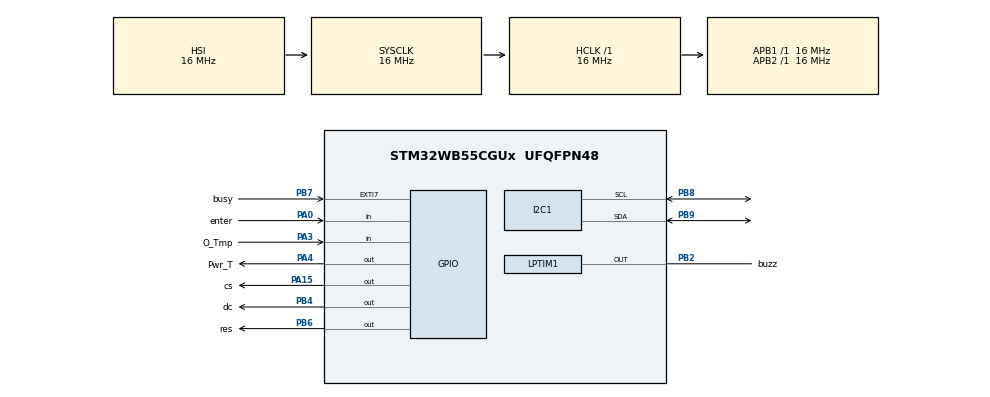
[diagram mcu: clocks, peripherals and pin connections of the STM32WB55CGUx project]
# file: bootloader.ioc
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I2C1.Timing=0x00503D58
LPTIM1.ClockPrescaler=LPTIM_PRESCALER_DIV4
Mcu.Family=STM32WB
Mcu.Name=STM32WB55CGUx
Mcu.Package=UFQFPN48
NVIC.EXTI9_5_IRQn=true\:0\:0\:false\:false\:true\:true\:true\:true
NVIC.LPTIM1_IRQn=true\:0\:0\:false\:false\:true\:true\:true\:true
NVIC.PriorityGroup=NVIC_PRIORITYGROUP_4
OSC_IN.Mode=HSE-External-Oscillator
OSC_IN.Signal=RCC_OSC_IN
OSC_OUT.Mode=HSE-External-Oscillator
OSC_OUT.Signal=RCC_OSC_OUT
PA0.GPIO_Label=enter
PA0.GPIO_PuPd=GPIO_PULLUP
PA0.Signal=GPIO_Input
PA15.GPIO_Label=cs
PA15.Signal=GPIO_Output
PA3.GPIO_Label=O_Tmp
PA3.GPIO_PuPd=GPIO_PULLUP
PA3.Signal=GPIO_Input
PA4.GPIO_Label=Pwr_T
PA4.PinState=GPIO_PIN_RESET
PA4.Signal=GPIO_Output
PB2.GPIO_Label=buzz
PB2.Mode=WaveformGeneration
PB2.Signal=LPTIM1_OUT
PB3.GPIO_Label=D_sclk
PB3.Signal=SPI1_SCK
PB4.GPIO_Label=dc
PB4.Signal=GPIO_Output
PB5.GPIO_Label=D_mosi
PB5.Signal=SPI1_MOSI
PB6.GPIO_Label=res
PB6.Signal=GPIO_Output
PB7.GPIO_Label=busy
PB7.GPIO_PuPd=GPIO_NOPULL
PB7.Signal=GPXTI7
PB8.Mode=I2C
PB8.Signal=I2C1_SCL
PB9.Mode=I2C
PB9.Signal=I2C1_SDA
PC14-OSC32_IN.Mode=LSE-External-Oscillator
PC14-OSC32_IN.Signal=RCC_OSC32_IN
PC15-OSC32_OUT.Mode=LSE-External-Oscillator
PC15-OSC32_OUT.Signal=RCC_OSC32_OUT
ProjectManager.HeapSize=0x200
ProjectManager.StackSize=0x400
ProjectManager.TargetToolchain=STM32CubeIDE
RCC.AHBFreq_Value=16000000
RCC.APB1Freq_Value=16000000
RCC.APB1TimFreq_Value=16000000
RCC.APB2Freq_Value=16000000
RCC.APB2TimFreq_Value=16000000
RCC.APB3Freq_Value=16000000
RCC.CortexFreq_Value=16000000
RCC.HCLKFreq_Value=16000000
RCC.HSE_VALUE=32000000
RCC.HSI48_VALUE=48000000
RCC.HSI_VALUE=16000000
RCC.PWR_Regulator_Voltage_Scale=PWR_REGULATOR_VOLTAGE_SCALE1
RCC.RTCClockSelection=RCC_RTCCLKSOURCE_LSE
RCC.SYSCLKFreq_VALUE=16000000
RCC.SYSCLKSource=RCC_SYSCLKSOURCE_HSI
RCC.VCOOutputFreq_Value=32000000
RTC.Date=28
VP_LPTIM1_VS_LPTIM_counterModeInternalClock.Mode=Counts__internal_clock_event_00
VP_MEMORYMAP_VS_MEMORYMAP.Mode=CurAppReg
VP_RTC_VS_RTC_Activate.Mode=RTC_Enabled
VP_RTC_VS_RTC_Calendar.Mode=RTC_Calendar
VP_SYS_V_PVD_IN.Mode=Mode_PVD_Int
board=custom

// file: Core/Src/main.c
/* USER CODE BEGIN Header */
/**
  ******************************************************************************
  * @file           : main.c
  * @brief          : Main program body
  ******************************************************************************
  * @attention
  *
  * Copyright (c) 2025 STMicroelectronics.
  * All rights reserved.
  *
  * This software is licensed under terms that can be found in the LICENSE file
  * in the root directory of this software component.
  * If no LICENSE file comes with this software, it is provided AS-IS.
  *
  ******************************************************************************
  */
/* USER CODE END Header */
#include "main.h"

/* USER CODE BEGIN Includes */
#include "Display_EPD_W21_spi.h"
#include "Display_EPD_W21.h"
#include "fonts.h"
#include "GUI_Paint.h"
#include <string.h>
#include "rtc.h"
/* USER CODE END Includes */

/* USER CODE BEGIN PD */
#define BUTTON_PIN GPIO_PIN_0
#define BUTTON_PORT GPIOA
#define PIEZO_PIN GPIO_PIN_2
#define PIEZO_PORT GPIOB
#define Butt_TIMEOUT_MS 2000
#define BOOT_ADD 0x1FFF0000 //0x1FFF0000 stm32wb55 bootloader address
#define BootJumpTime 3000
static uint8_t BlackImage[EPD_WIDTH * EPD_HEIGHT / 8]; //display drawing buffer
///display pins definitions/////

/////end of display pins definitions////
/* USER CODE END PD */
extern RTC_HandleTypeDef hrtc;

LPTIM_HandleTypeDef hlptim1;

void SystemClock_Config(void);
void PeriphCommonClock_Config(void);
static void MX_GPIO_Init(void);
static void MX_LPTIM1_Init(void);

/* USER CODE BEGIN PFP */
void PlayBeep(uint32_t duration_ms);
void JumpToBootloader(void);

/* USER CODE END PFP */

int main(void)
{

  /* MCU Configuration--------------------------------------------------------*/

  /* Reset of all peripherals, Initializes the Flash interface and the Systick. */
  HAL_Init();

  /* Configure the system clock */
  SystemClock_Config();

  /* Configure the peripherals common clocks */
  PeriphCommonClock_Config();

  /* Initialize all configured peripherals */
  MX_GPIO_Init();
  MX_LPTIM1_Init();
  /* USER CODE BEGIN 2 */
  EPD_GPIO_Init();              // Inicializácia GPIO pre displej
  EPD_HW_Init();                // Inicializácia displeja
  MX_RTC_Init();    //inicializacia rtc
  MX_I2C1_Init(); 	//inicializacia I2c
  //5s window for bootloader jump
  uint32_t buttonPressStartTime = 0;
  uint32_t TimeoutCounter = 0;
  uint8_t buttonHeld = 0;
  TimeoutCounter = HAL_GetTick();
  //till boot jump time period is gone, stay in the loop and read the button
  while ( HAL_GetTick() - TimeoutCounter <= BootJumpTime ) {
	  //read the button. if button is zero(pulldown) start the countdown
	  	  if (HAL_GPIO_ReadPin(BUTTON_PORT, BUTTON_PIN) == GPIO_PIN_RESET) {
	  	             if (!buttonHeld) {
	  	                 buttonHeld = 1;
	  	                 buttonPressStartTime = HAL_GetTick();
	  	             //if we pass 2s debouncing play beep and jump to the bootloader
	  	             } else if (HAL_GetTick() - buttonPressStartTime >= Butt_TIMEOUT_MS) {
	  	                 PlayBeep(1000); // Pípnutie na 1 sekundu
	  	                 JumpToBootloader();
	  	             }
	  	  }
	  	  else {
	  	             buttonHeld = 0; // if button was pressed shorter time release the flag

	  	  }

  }

  /* USER CODE END 2 */

  /* Infinite loop */
  /* USER CODE BEGIN WHILE */
  while (1)
  {

	  // Načítať čas a dátum
	     RTC_TimeTypeDef sTime;
	     RTC_DateTypeDef sDate;
	     char timeStr[16];
	     char dateStr[16];

	     HAL_RTC_GetTime(&hrtc, &sTime, RTC_FORMAT_BIN);
	     HAL_RTC_GetDate(&hrtc, &sDate, RTC_FORMAT_BIN); // Dôležité: načítaj Date hneď po Time!

	     // Vytvoriť texty pre výpis
	     sprintf(timeStr, "%02d:%02d:%02d", sTime.Hours, sTime.Minutes, sTime.Seconds);
	     sprintf(dateStr, "%02d.%02d.20%02d", sDate.Date, sDate.Month, sDate.Year);

	     /////////////////// Vykreslenie na e-paper /////////////////////
	     Paint_NewImage(BlackImage, EPD_WIDTH, EPD_HEIGHT, ROTATE_90, WHITE);
	     Paint_SetMirroring(MIRROR_VERTICAL);
	     Paint_Clear(WHITE); // Vyčisti obraz

	     // Vykresliť dátum
	     Paint_DrawString_EN(5, 5, dateStr, &Font16, WHITE, BLACK);

	     // Vykresliť čas
	     Paint_DrawString_EN(5, 30, timeStr, &Font24, WHITE, BLACK);

	     // Odošli na displej
	     EPD_Display(BlackImage);

	     // Uspi displej pre úsporu
	     EPD_DeepSleep();

	     // Počkaj 5 sekúnd pred ďalšou aktualizáciou
	     HAL_Delay(5000);

    /* USER CODE END WHILE */

  }
}

void SystemClock_Config(void)
{
  RCC_OscInitTypeDef RCC_OscInitStruct = {0};
  RCC_ClkInitTypeDef RCC_ClkInitStruct = {0};

  /** Configure the main internal regulator output voltage
  */
  __HAL_PWR_VOLTAGESCALING_CONFIG(PWR_REGULATOR_VOLTAGE_SCALE1);

  /** Initializes the RCC Oscillators according to the specified parameters
  * in the RCC_OscInitTypeDef structure.
  */
  RCC_OscInitStruct.OscillatorType = RCC_OSCILLATORTYPE_HSI;
  RCC_OscInitStruct.HSIState = RCC_HSI_ON;
  RCC_OscInitStruct.HSICalibrationValue = RCC_HSICALIBRATION_DEFAULT;
  RCC_OscInitStruct.PLL.PLLState = RCC_PLL_NONE;
  if (HAL_RCC_OscConfig(&RCC_OscInitStruct) != HAL_OK)
  {
    Error_Handler();
  }

  /** Configure the SYSCLKSource, HCLK, PCLK1 and PCLK2 clocks dividers
  */
  RCC_ClkInitStruct.ClockType = RCC_CLOCKTYPE_HCLK4|RCC_CLOCKTYPE_HCLK2
                              |RCC_CLOCKTYPE_HCLK|RCC_CLOCKTYPE_SYSCLK
                              |RCC_CLOCKTYPE_PCLK1|RCC_CLOCKTYPE_PCLK2;
  RCC_ClkInitStruct.SYSCLKSource = RCC_SYSCLKSOURCE_HSI;
  RCC_ClkInitStruct.AHBCLKDivider = RCC_SYSCLK_DIV1;
  RCC_ClkInitStruct.APB1CLKDivider = RCC_HCLK_DIV1;
  RCC_ClkInitStruct.APB2CLKDivider = RCC_HCLK_DIV1;
  RCC_ClkInitStruct.AHBCLK2Divider = RCC_SYSCLK_DIV1;
  RCC_ClkInitStruct.AHBCLK4Divider = RCC_SYSCLK_DIV1;

  if (HAL_RCC_ClockConfig(&RCC_ClkInitStruct, FLASH_LATENCY_0) != HAL_OK)
  {
    Error_Handler();
  }
}

void PeriphCommonClock_Config(void)
{
  RCC_PeriphCLKInitTypeDef PeriphClkInitStruct = {0};

  /** Initializes the peripherals clock
  */
  PeriphClkInitStruct.PeriphClockSelection = RCC_PERIPHCLK_SMPS;
  PeriphClkInitStruct.SmpsClockSelection = RCC_SMPSCLKSOURCE_HSI;
  PeriphClkInitStruct.SmpsDivSelection = RCC_SMPSCLKDIV_RANGE1;

  if (HAL_RCCEx_PeriphCLKConfig(&PeriphClkInitStruct) != HAL_OK)
  {
    Error_Handler();
  }
}

static void MX_LPTIM1_Init(void)
{

  hlptim1.Instance = LPTIM1;
  hlptim1.Init.Clock.Source = LPTIM_CLOCKSOURCE_APBCLOCK_LPOSC;
  hlptim1.Init.Clock.Prescaler = LPTIM_PRESCALER_DIV4;
  hlptim1.Init.Trigger.Source = LPTIM_TRIGSOURCE_SOFTWARE;
  hlptim1.Init.OutputPolarity = LPTIM_OUTPUTPOLARITY_HIGH;
  hlptim1.Init.UpdateMode = LPTIM_UPDATE_IMMEDIATE;
  hlptim1.Init.CounterSource = LPTIM_COUNTERSOURCE_INTERNAL;
  hlptim1.Init.Input1Source = LPTIM_INPUT1SOURCE_GPIO;
  hlptim1.Init.Input2Source = LPTIM_INPUT2SOURCE_GPIO;
  if (HAL_LPTIM_Init(&hlptim1) != HAL_OK)
  {
    Error_Handler();
  }

}

static void MX_GPIO_Init(void)
{
  GPIO_InitTypeDef GPIO_InitStruct = {0};

  /* GPIO Ports Clock Enable */
  __HAL_RCC_GPIOA_CLK_ENABLE();
  __HAL_RCC_GPIOB_CLK_ENABLE();

  /*Configure GPIO pin Output Level */
  HAL_GPIO_WritePin(cs_GPIO_Port, cs_Pin, GPIO_PIN_RESET);

  /*Configure GPIO pin Output Level */
  HAL_GPIO_WritePin(GPIOB, dc_Pin|res_Pin, GPIO_PIN_RESET);

  /*Configure GPIO pin : enter_Pin */
  GPIO_InitStruct.Pin = enter_Pin;
  GPIO_InitStruct.Mode = GPIO_MODE_INPUT;
  GPIO_InitStruct.Pull = GPIO_PULLUP;
  HAL_GPIO_Init(enter_GPIO_Port, &GPIO_InitStruct);

  /*Configure GPIO pin : cs_Pin */
  GPIO_InitStruct.Pin = cs_Pin;
  GPIO_InitStruct.Mode = GPIO_MODE_OUTPUT_PP;
  GPIO_InitStruct.Pull = GPIO_NOPULL;
  GPIO_InitStruct.Speed = GPIO_SPEED_FREQ_LOW;
  HAL_GPIO_Init(cs_GPIO_Port, &GPIO_InitStruct);

  /*Configure GPIO pins : dc_Pin res_Pin */
  GPIO_InitStruct.Pin = dc_Pin|res_Pin;
  GPIO_InitStruct.Mode = GPIO_MODE_OUTPUT_PP;
  GPIO_InitStruct.Pull = GPIO_NOPULL;
  GPIO_InitStruct.Speed = GPIO_SPEED_FREQ_LOW;
  HAL_GPIO_Init(GPIOB, &GPIO_InitStruct);

  /*Configure GPIO pin : busy_Pin */
  GPIO_InitStruct.Pin = busy_Pin;
  GPIO_InitStruct.Mode = GPIO_MODE_IT_RISING;
  GPIO_InitStruct.Pull = GPIO_NOPULL;
  HAL_GPIO_Init(busy_GPIO_Port, &GPIO_InitStruct);

  /* EXTI interrupt init*/
  HAL_NVIC_SetPriority(EXTI9_5_IRQn, 0, 0);
  HAL_NVIC_EnableIRQ(EXTI9_5_IRQn);

}

/* USER CODE BEGIN 4 */

void PlayBeep(uint32_t duration_ms) {
	uint32_t period = 500;  // 1 kHz (f=clk1MHz/1000)
	uint32_t pulse = 300;   // 50% duty cycle (D=pulse/period)
	// Spusti časovač na generovanie PWM
    HAL_LPTIM_PWM_Start(&hlptim1, period, pulse);

    // Čakaj, kým uplynie trvanie zvuku
    HAL_Delay(duration_ms);

    // Zastav časovač
    HAL_LPTIM_PWM_Stop(&hlptim1);
}

void JumpToBootloader(void) {

    // Vypnutie prerušení
    __disable_irq();

    // Reset USB
    USB->CNTR = 0x0003;

    // Resetovanie periférií
    __HAL_RCC_GPIOC_CLK_DISABLE();
    __HAL_RCC_GPIOB_CLK_DISABLE();
    __HAL_RCC_GPIOA_CLK_DISABLE();
    //USB->CNTR = 0x0003;
    HAL_LPTIM_DeInit(&hlptim1);
    HAL_RCC_DeInit();
   // HAL_DeInit();
    // resetne systivk
    SysTick->CTRL = 0;
    SysTick->LOAD = 0;
    SysTick->VAL = 0;
    // Clear all interrupt bits
      for (uint8_t i = 0; i < sizeof(NVIC->ICER) / sizeof(NVIC->ICER[0]); i++)
      {
        NVIC->ICER[i] = 0xFFFFFFFF;
        NVIC->ICPR[i] = 0xFFFFFFFF;
      }

      /* Re-enable all interrupts */
      __enable_irq();

      /* Set up the jump to boot loader address + 4 */
      uint32_t jump_address = *(__IO uint32_t *)(BOOT_ADD + 4);

      /* Set the main stack pointer to the boot loader stack */
      __set_MSP(*(uint32_t *)BOOT_ADD);

      /* Call the function to jump to boot loader location */
      void (*boot_load)(void) = (void (*)(void))(jump_address);

      //remap memory
      SYSCFG->MEMRMP = 0x01;

      // Now jump to the boot loader
      boot_load();
      /* Jump is done successfully */

}

/* USER CODE END 4 */

void Error_Handler(void)
{
  __disable_irq();
  while (1)
  {
  }
}
